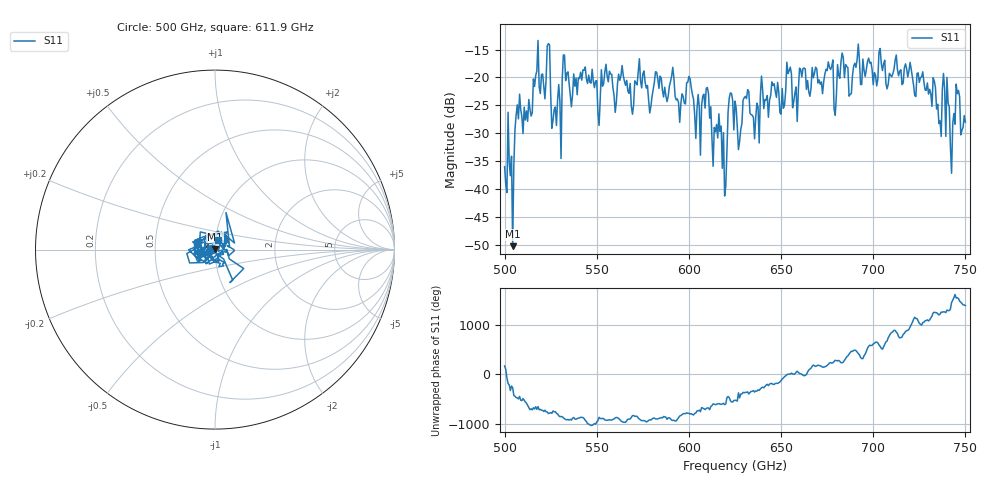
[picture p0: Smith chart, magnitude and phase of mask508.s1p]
!Created with skrf (http://scikit-rf.org).
# GHz S MA R 50.0
!freq magS11 angS11
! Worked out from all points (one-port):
!   401 points, 500 GHz to 750 GHz, reference 50 ohm
!   lowest |S11| = -50.3 dB at 504.4 GHz (marker M1), VSWR 1.01, Z = 50 + j0.305 ohm
!   |S11| at or under -10 dB: start of sweep to end of sweep
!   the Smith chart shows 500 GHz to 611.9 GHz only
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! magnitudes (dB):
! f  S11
! 500 GHz  -36.0
! 504.4 GHz  -50.3
! 506.9 GHz  -24.9
! 513.8 GHz  -25.7
! 516.9 GHz  -19.7
! 523.8 GHz  -13.9
! 526.9 GHz  -25.8
! 531.2 GHz  -20.4
! 562.5 GHz  -20.5
! 568.8 GHz  -25.2
! 590.6 GHz  -19.7
! 593.8 GHz  -23.8
! 600 GHz  -19.8
! 605 GHz  -23.1
! 609.4 GHz  -22.0
! 619.4 GHz  -41.3
! 622.5 GHz  -22.8
! 625 GHz  -24.2
! 656.2 GHz  -25.4
! 683.8 GHz  -16.4
! 687.5 GHz  -23.0
! 691.2 GHz  -16.8
! 718.8 GHz  -19.9
! 735.6 GHz  -28.3
! 738.8 GHz  -22.2
! 743.1 GHz  -28.4
! 745.6 GHz  -22.9
! 750 GHz  -28.0
